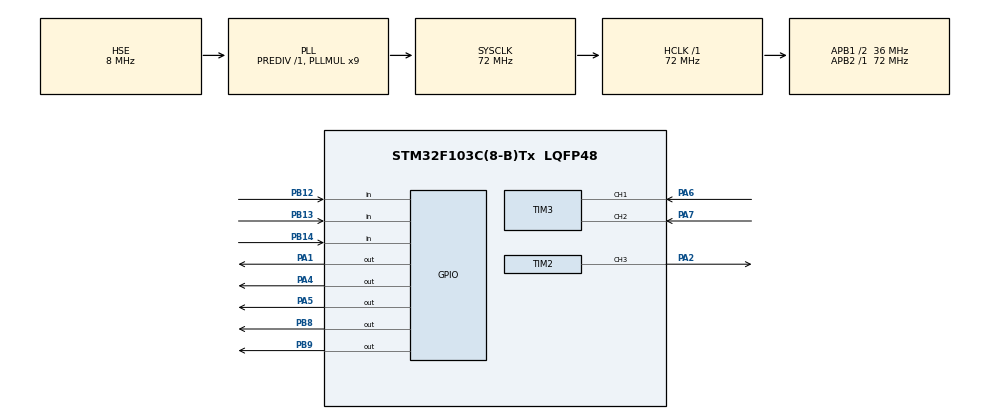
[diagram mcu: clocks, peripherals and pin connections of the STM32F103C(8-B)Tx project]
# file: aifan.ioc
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Mcu.Family=STM32F1
Mcu.Name=STM32F103C(8-B)Tx
Mcu.Package=LQFP48
NVIC.PriorityGroup=NVIC_PRIORITYGROUP_4
NVIC.TIM4_IRQn=true\:0\:0\:false\:false\:true\:true\:true\:true
PA1.Signal=GPIO_Output
PA13.Mode=Serial_Wire
PA13.Signal=SYS_JTMS-SWDIO
PA14.Mode=Serial_Wire
PA14.Signal=SYS_JTCK-SWCLK
PA2.Signal=S_TIM2_CH3
PA4.Signal=GPIO_Output
PA5.Signal=GPIO_Output
PA6.Signal=S_TIM3_CH1
PA7.Signal=S_TIM3_CH2
PB12.GPIO_PuPd=GPIO_PULLDOWN
PB12.Signal=GPIO_Input
PB13.GPIO_PuPd=GPIO_PULLDOWN
PB13.Signal=GPIO_Input
PB14.GPIO_PuPd=GPIO_PULLDOWN
PB14.Signal=GPIO_Input
PB8.Signal=GPIO_Output
PB9.Signal=GPIO_Output
PC14-OSC32_IN.Mode=LSE-External-Oscillator
PC14-OSC32_IN.Signal=RCC_OSC32_IN
PC15-OSC32_OUT.Mode=LSE-External-Oscillator
PC15-OSC32_OUT.Signal=RCC_OSC32_OUT
PD0-OSC_IN.Mode=HSE-External-Oscillator
PD0-OSC_IN.Signal=RCC_OSC_IN
PD1-OSC_OUT.Mode=HSE-External-Oscillator
PD1-OSC_OUT.Signal=RCC_OSC_OUT
ProjectManager.HeapSize=0x200
ProjectManager.StackSize=0x400
ProjectManager.TargetToolchain=MDK-ARM V5
RCC.ADCPresc=RCC_ADCPCLK2_DIV6
RCC.AHBFreq_Value=72000000
RCC.APB1CLKDivider=RCC_HCLK_DIV2
RCC.APB1Freq_Value=36000000
RCC.APB1TimFreq_Value=72000000
RCC.APB2Freq_Value=72000000
RCC.APB2TimFreq_Value=72000000
RCC.HCLKFreq_Value=72000000
RCC.PLLMUL=RCC_PLL_MUL9
RCC.PLLSourceVirtual=RCC_PLLSOURCE_HSE
RCC.SYSCLKFreq_VALUE=72000000
RCC.SYSCLKSource=RCC_SYSCLKSOURCE_PLLCLK
RCC.USBFreq_Value=72000000
SH.S_TIM2_CH3.0=TIM2_CH3,PWM Generation3 CH3
SH.S_TIM3_CH1.0=TIM3_CH1,Encoder_Interface
SH.S_TIM3_CH2.0=TIM3_CH2,Encoder_Interface
TIM1.Prescaler=72-1
TIM2.Channel-PWM\ Generation3\ CH3=TIM_CHANNEL_3
TIM2.Period=99
TIM2.Prescaler=71
TIM3.EncoderMode=TIM_ENCODERMODE_TI1
TIM4.Period=10000-1
TIM4.Prescaler=7200-1
VP_TIM1_VS_ClockSourceINT.Mode=Internal
VP_TIM2_VS_ClockSourceINT.Mode=Internal
VP_TIM4_VS_ClockSourceINT.Mode=Internal
board=custom

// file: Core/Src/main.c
/* USER CODE BEGIN Header */
/**
  ******************************************************************************
  * @file           : main.c
  * @brief          : Main program body
  ******************************************************************************
  * @attention
  *
  * Copyright (c) 2025 STMicroelectronics.
  * All rights reserved.
  *
  * This software is licensed under terms that can be found in the LICENSE file
  * in the root directory of this software component.
  * If no LICENSE file comes with this software, it is provided AS-IS.
  *
  ******************************************************************************
  */
/* USER CODE END Header */
#include "main.h"
#include "tim.h"
#include "gpio.h"

/* USER CODE BEGIN Includes */
#include "stdio.h"
#include "oled.h"
#include "key.h"
#include "encoder.h"
#include "motor.h"
#include "MENU.h"
#include "dht11.h"

/* USER CODE END Includes */

void SystemClock_Config(void);

/* USER CODE BEGIN 0 */
//在定时器中断回调中实现倒计时逻辑
void HAL_TIM_PeriodElapsedCallback(TIM_HandleTypeDef *htim) {
    if(htim == &htim4) { // 确保是TIM4触发
        timer1s_flag = 1;
        if (cdt.is_running && cdt.remaining > 0) {
            cdt.remaining--; // 剩余秒数减1
            // 转换为时分秒格式（可选：更新显示或发送数据）
            Hour = cdt.remaining / 3600;
            Min = (cdt.remaining % 3600) / 60;
            Sec = cdt.remaining % 60;

            // 此处可以调用显示函数或触发其他操作
            // UpdateDisplay(h, m, s);

            // 倒计时结束处理
            if (cdt.remaining == 0) {
                cdt.is_running = 0;
                HAL_TIM_Base_Stop_IT(&htim4); // 停止定时器
                // 触发完成事件（如蜂鸣器响、LED闪烁）
                Motor_SetSpeed(0);
            }
        }
    }
}
/* USER CODE END 0 */

int main(void)
{

  /* MCU Configuration--------------------------------------------------------*/

  /* Reset of all peripherals, Initializes the Flash interface and the Systick. */
  HAL_Init();

  /* Configure the system clock */
  SystemClock_Config();

  /* Initialize all configured peripherals */
  MX_GPIO_Init();
  MX_TIM2_Init();
  MX_TIM3_Init();
  MX_TIM4_Init();
  MX_TIM1_Init();
  /* USER CODE BEGIN 2 */
    OLED_Init();
    Enoder_Init();     //编码器初始化
    Motor_Init();      //电机初始化
    DHT11_Init();	   //DHT11初始化
  /* USER CODE END 2 */

  /* Infinite loop */
    while (1)
    {

    /* USER CODE BEGIN 3 */
         menu1();
    }
  /* USER CODE END 3 */
}

void SystemClock_Config(void)
{
  RCC_OscInitTypeDef RCC_OscInitStruct = {0};
  RCC_ClkInitTypeDef RCC_ClkInitStruct = {0};

  /** Initializes the RCC Oscillators according to the specified parameters
  * in the RCC_OscInitTypeDef structure.
  */
  RCC_OscInitStruct.OscillatorType = RCC_OSCILLATORTYPE_HSE;
  RCC_OscInitStruct.HSEState = RCC_HSE_ON;
  RCC_OscInitStruct.HSEPredivValue = RCC_HSE_PREDIV_DIV1;
  RCC_OscInitStruct.HSIState = RCC_HSI_ON;
  RCC_OscInitStruct.PLL.PLLState = RCC_PLL_ON;
  RCC_OscInitStruct.PLL.PLLSource = RCC_PLLSOURCE_HSE;
  RCC_OscInitStruct.PLL.PLLMUL = RCC_PLL_MUL9;
  if (HAL_RCC_OscConfig(&RCC_OscInitStruct) != HAL_OK)
  {
    Error_Handler();
  }

  /** Initializes the CPU, AHB and APB buses clocks
  */
  RCC_ClkInitStruct.ClockType = RCC_CLOCKTYPE_HCLK|RCC_CLOCKTYPE_SYSCLK
                              |RCC_CLOCKTYPE_PCLK1|RCC_CLOCKTYPE_PCLK2;
  RCC_ClkInitStruct.SYSCLKSource = RCC_SYSCLKSOURCE_PLLCLK;
  RCC_ClkInitStruct.AHBCLKDivider = RCC_SYSCLK_DIV1;
  RCC_ClkInitStruct.APB1CLKDivider = RCC_HCLK_DIV2;
  RCC_ClkInitStruct.APB2CLKDivider = RCC_HCLK_DIV1;

  if (HAL_RCC_ClockConfig(&RCC_ClkInitStruct, FLASH_LATENCY_2) != HAL_OK)
  {
    Error_Handler();
  }
}

void Error_Handler(void)
{
    __disable_irq();
    while (1)
    {
    }
}
